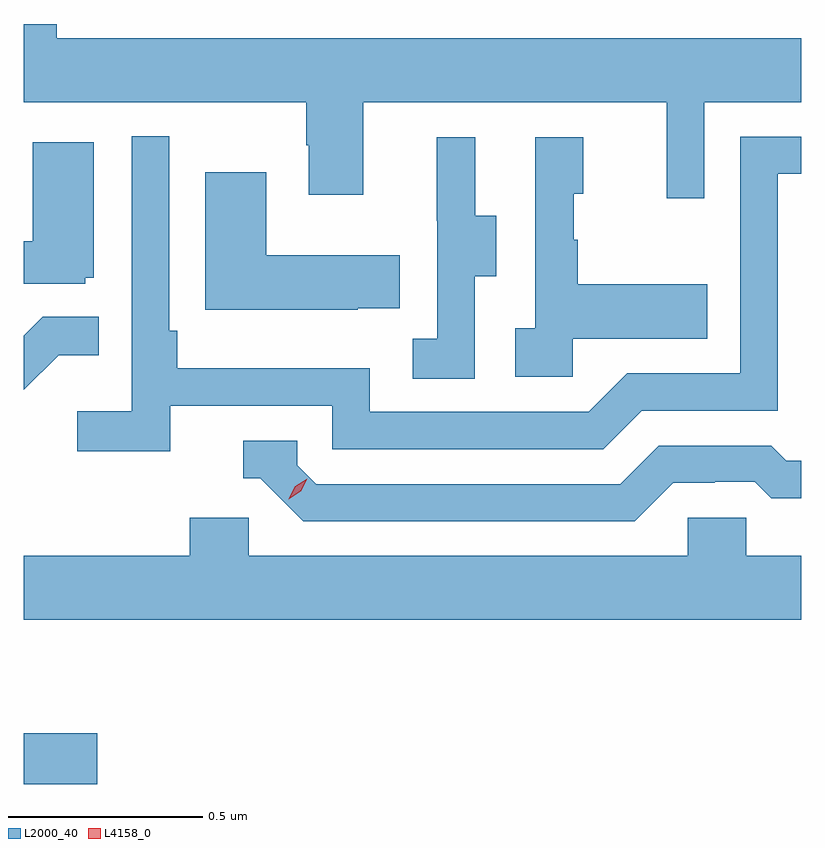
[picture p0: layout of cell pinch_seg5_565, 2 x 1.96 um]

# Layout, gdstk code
import gdstk
lib = gdstk.Library(unit=1e-6, precision=1e-09)
def R(c, l, rs):  # rectangles x0, y0, x1, y1
    for r in rs: c.add(gdstk.rectangle(r[:2], r[2:], *l))
def P(c, l, *ps):  # polygons
    for p in ps: c.add(gdstk.Polygon(p, *l))
L2000_40 = (2000, 40)
L4158_0 = (4158, 0)

pinch_seg5_565 = lib.new_cell('pinch_seg5_565')
R(pinch_seg5_565, L2000_40, [(986.722,852.341,986.911,852.471)])
P(pinch_seg5_565, L2000_40, [(988.473,854.096),(988.722,854.096),(988.722,854.26),(986.807,854.26),(986.807,854.297),(986.722,854.297),(986.722,854.096),(987.448,854.096),(987.448,853.985),(987.455,853.985),(987.455,853.857),(987.595,853.857),(987.595,854.096),(988.376,854.096),(988.376,853.848),(988.473,853.848)],
  [(987.098,853.314),(987.516,853.314),(987.516,853.203),(988.213,853.203),(988.312,853.302),(988.662,853.302),(988.662,853.911),(988.722,853.911),(988.722,854.007),(988.566,854.007),(988.566,853.398),(988.275,853.398),(988.176,853.299),(987.612,853.299),(987.612,853.411),(987.116,853.411),(987.116,853.507),(987.096,853.507),(987.096,854.008),(987,854.008),(987,853.3),(986.859,853.3),(986.859,853.198),(987.098,853.198)],
  [(988.134,853.487),(988.481,853.487),(988.481,853.627),(988.147,853.627),(988.147,853.742),(988.137,853.742),(988.137,853.86),(988.162,853.86),(988.162,854.005),(988.038,854.005),(988.038,853.514),(987.987,853.514),(987.987,853.389),(988.134,853.389)],
  [(987.882,853.648),(987.937,853.648),(987.937,853.803),(987.883,853.803),(987.883,854.005),(987.785,854.005),(987.785,853.791),(987.786,853.791),(987.786,853.487),(987.723,853.487),(987.723,853.384),(987.882,853.384)],
  [(986.88,853.644),(986.902,853.644),(986.902,853.993),(986.744,853.993),(986.744,853.738),(986.722,853.738),(986.722,853.629),(986.88,853.629)],
  [(987.581,853.565),(987.689,853.565),(987.689,853.702),(987.346,853.702),(987.346,853.915),(987.188,853.915),(987.188,853.562),(987.581,853.562)],
  [(986.811,853.445),(986.915,853.445),(986.915,853.544),(986.771,853.544),(986.722,853.495),(986.722,853.356)],
  [(988.393,853.116),(988.5,853.116),(988.5,853.119),(988.603,853.119),(988.645,853.077),(988.722,853.077),(988.722,853.173),(988.684,853.173),(988.645,853.212),(988.356,853.212),(988.257,853.113),(987.474,853.113),(987.426,853.161),(987.426,853.224),(987.287,853.224),(987.287,853.128),(987.33,853.128),(987.441,853.017),(988.294,853.017)],
  [(988.722,852.928),(988.581,852.928),(988.581,853.026),(988.431,853.026),(988.431,852.928),(987.3,852.928),(987.3,853.026),(987.149,853.026),(987.149,852.928),(986.722,852.928),(986.722,852.764),(988.722,852.764)])
P(pinch_seg5_565, L4158_0, [(987.404,853.074),(987.404,853.075),(987.42,853.107),(987.451,853.126),(987.451,853.126),(987.451,853.126),(987.435,853.094),(987.404,853.074)])

lib.write_gds('pinch_seg5_565.gds')
